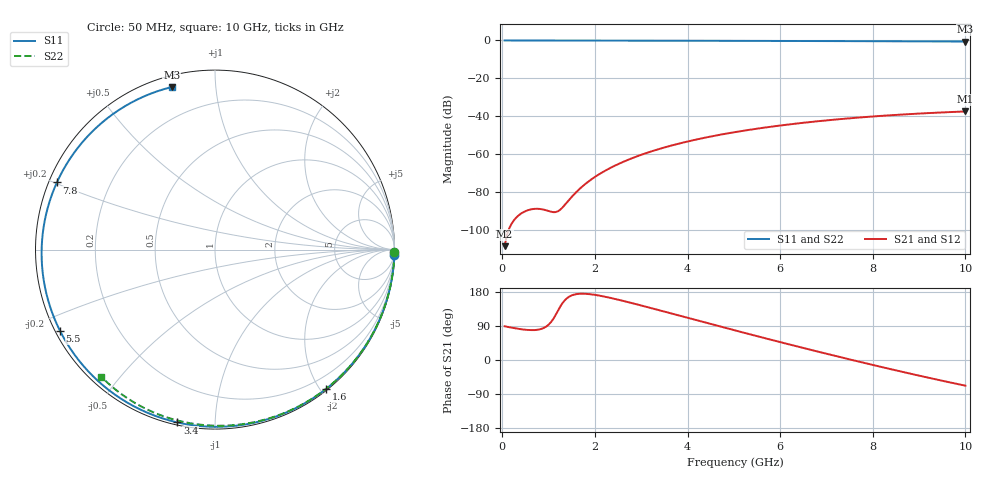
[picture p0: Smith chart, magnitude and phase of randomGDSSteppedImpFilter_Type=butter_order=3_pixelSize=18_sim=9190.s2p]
! freq	dB(S11)	phase(S11)	dB(S12)	phase(S12)
!  dB(S21)	phase(S21)	dB(S22)	phase(S22)
!S-par simulation data
#  GHz  S  DB  R 50
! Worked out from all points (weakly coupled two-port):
!   200 points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, 50 MHz to 10 GHz, reference 50 ohm
!   highest |S21| = -37.43 dB at 10 GHz (marker M1); lowest = -108.4 dB at 50 MHz (marker M2)
!   lowest |S11| = -0.6 dB at 10 GHz (marker M3), VSWR 30.81, Z = 2.58 + j38.4 ohm
!   |S11| at or under -10 dB: nowhere
!   |S22| runs from -0.4 to 0.0 dB; largest |S21 - S12| = 0
!   S11 on the Smith chart (normalised r, x): 50 MHz: 0, -68; 1.6 GHz: 0.02, -2.07; 3.4 GHz: 0.01, -0.81; 5.5 GHz: 0.01, -0.25; 7.8 GHz: 0.02, +0.20; 10 GHz: 0.05, +0.77
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0.05  -0.00 -1.7  -108.44 89.0  -108.44 89.0  -0.00 -0.8
0.4  -0.02 -13.2  -91.33 81.3  -91.33 81.3  -0.01 -6.1
0.8  -0.03 -26.3  -88.79 80.6  -88.79 80.6  -0.02 -12.1
1.2  -0.05 -39.0  -90.07 129.7  -90.07 129.7  -0.02 -18.1
1.6  -0.06 -51.5  -79.87 173.8  -79.87 173.8  -0.03 -24.1
1.75  -0.07 -56.1  -76.51 174.9  -76.51 174.9  -0.03 -26.3
2.05  -0.08 -65.0  -71.16 170.9  -71.16 170.9  -0.04 -30.7
2.45  -0.09 -76.6  -65.79 160.7  -65.79 160.7  -0.05 -36.5
2.9  -0.11 -89.0  -61.16 147.0  -61.16 147.0  -0.06 -43.0
3.4  -0.13 -102.3  -57.12 131.0  -57.12 131.0  -0.07 -50.1
4.15  -0.15 -121.0  -52.43 106.5  -52.43 106.5  -0.08 -60.4
4.6  -0.17 -131.8  -50.17 91.8  -50.17 91.8  -0.10 -66.5
5.05  -0.20 -142.2  -48.21 77.3  -48.21 77.3  -0.11 -72.5
5.5  -0.22 -152.3  -46.50 63.0  -46.50 63.0  -0.13 -78.3
6.1  -0.26 -165.6  -44.54 44.1  -44.54 44.1  -0.15 -85.9
6.7  -0.30 -178.7  -42.87 25.6  -42.87 25.6  -0.18 -93.4
7.25  -0.34 169.2  -41.56 9.0  -41.56 9.0  -0.21 -100.1
7.8  -0.38 157.0  -40.44 -7.2  -40.44 -7.2  -0.25 -106.6
8.35  -0.43 144.5  -39.48 -23.1  -39.48 -23.1  -0.29 -113.1
8.8  -0.46 134.1  -38.81 -35.8  -38.81 -35.8  -0.33 -118.3
9.25  -0.50 123.4  -38.22 -48.1  -38.22 -48.1  -0.37 -123.4
10  -0.56 104.9  -37.43 -67.8  -37.43 -67.8  -0.44 -131.9
